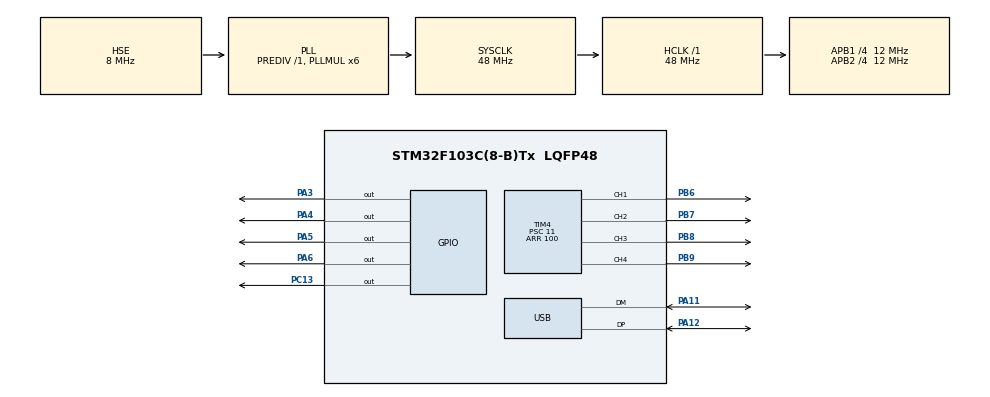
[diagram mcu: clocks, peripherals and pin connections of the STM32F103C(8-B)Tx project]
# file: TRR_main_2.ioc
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Mcu.Family=STM32F1
Mcu.Name=STM32F103C(8-B)Tx
Mcu.Package=LQFP48
NVIC.PriorityGroup=NVIC_PRIORITYGROUP_4
NVIC.USB_LP_CAN1_RX0_IRQn=true\:0\:0\:false\:false\:true\:false\:true\:true
PA11.Mode=Device
PA11.Signal=USB_DM
PA12.Mode=Device
PA12.Signal=USB_DP
PA13.Mode=Serial_Wire
PA13.Signal=SYS_JTMS-SWDIO
PA14.Mode=Serial_Wire
PA14.Signal=SYS_JTCK-SWCLK
PA3.Signal=GPIO_Output
PA4.Signal=GPIO_Output
PA5.Signal=GPIO_Output
PA6.Signal=GPIO_Output
PB6.Signal=S_TIM4_CH1
PB7.Signal=S_TIM4_CH2
PB8.Signal=S_TIM4_CH3
PB9.Signal=S_TIM4_CH4
PC13-TAMPER-RTC.Signal=GPIO_Output
PD0-OSC_IN.Mode=HSE-External-Oscillator
PD0-OSC_IN.Signal=RCC_OSC_IN
PD1-OSC_OUT.Mode=HSE-External-Oscillator
PD1-OSC_OUT.Signal=RCC_OSC_OUT
ProjectManager.HeapSize=0x200
ProjectManager.StackSize=0x400
ProjectManager.TargetToolchain=MDK-ARM V5.32
RCC.AHBFreq_Value=48000000
RCC.APB1CLKDivider=RCC_HCLK_DIV4
RCC.APB1Freq_Value=12000000
RCC.APB1TimFreq_Value=24000000
RCC.APB2CLKDivider=RCC_HCLK_DIV4
RCC.APB2Freq_Value=12000000
RCC.APB2TimFreq_Value=24000000
RCC.HCLKFreq_Value=48000000
RCC.PLLMUL=RCC_PLL_MUL6
RCC.SYSCLKFreq_VALUE=48000000
RCC.SYSCLKSource=RCC_SYSCLKSOURCE_PLLCLK
RCC.USBFreq_Value=48000000
SH.S_TIM4_CH1.0=TIM4_CH1,PWM Generation1 CH1
SH.S_TIM4_CH2.0=TIM4_CH2,PWM Generation2 CH2
SH.S_TIM4_CH3.0=TIM4_CH3,PWM Generation3 CH3
SH.S_TIM4_CH4.0=TIM4_CH4,PWM Generation4 CH4
TIM4.Channel-PWM\ Generation1\ CH1=TIM_CHANNEL_1
TIM4.Channel-PWM\ Generation2\ CH2=TIM_CHANNEL_2
TIM4.Channel-PWM\ Generation3\ CH3=TIM_CHANNEL_3
TIM4.Channel-PWM\ Generation4\ CH4=TIM_CHANNEL_4
TIM4.Period=100
TIM4.Prescaler=11
USB_DEVICE.CLASS_NAME_FS=CDC
USB_DEVICE.VirtualMode=Cdc
USB_DEVICE.VirtualModeFS=Cdc_FS
VP_USB_DEVICE_VS_USB_DEVICE_CDC_FS.Mode=CDC_FS
board=custom

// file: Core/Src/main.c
/* USER CODE BEGIN Header */
/**
  ******************************************************************************
  * @file           : main.c
  * @brief          : Main program body
  ******************************************************************************
  * @attention
  *
  * Copyright (c) 2023 STMicroelectronics.
  * All rights reserved.
  *
  * This software is licensed under terms that can be found in the LICENSE file
  * in the root directory of this software component.
  * If no LICENSE file comes with this software, it is provided AS-IS.
  *
  ******************************************************************************
  */

	/* 	Author: Chi */
	/* 	Right motor:
				R_EN			- PA5
				L_EN			- PA6
				R_PWM			-	PB9
				L_PWM			- PB8
			Right motor:
				R_EN			- PA4
				L_EN			- PA3
				R_PWM			-	PB6
				L_PWM			- PB7
	*/

/* USER CODE END Header */
#include "main.h"
#include "usb_device.h"

/* USER CODE BEGIN Includes */
#include "usbd_cdc_if.h"
/* USER CODE END Includes */

TIM_HandleTypeDef htim4;

/* USER CODE BEGIN PV */
int pwm1= 0;

/* Parameter of USB USB receive */
uint8_t 	buffer[64];
uint8_t		RunSystem 				= 0;						/* ON/OFF all system */
uint8_t		EnablePickup 			= 0;						/* ON/OFF pickup system */

/* USER CODE END PV */

void SystemClock_Config(void);
static void MX_GPIO_Init(void);
static void MX_TIM4_Init(void);

/* USER CODE BEGIN 0 */

/* ======================================================================================= USB printf ======================================================================================= */
struct __FILE
{
  int handle;
  /* Whatever you require here. If the only file you are using is */
  /* standard output using printf() for debugging, no file handling */
  /* is required. */
};
/* FILE is typedef'd in stdio.h. */
FILE __stdout;
int fputc(int ch, FILE *f)
{
    while(!(CDC_Transmit_FS((uint8_t*)&ch, 1) == USBD_OK))
        ;
    return ch;
}
/* ======================================================================================= End USB printf ======================================================================================= */

/* ================================================================================ Motor Control ================================================================================ */
void MotorLeftRot(int32_t pwmSet)
{
	HAL_GPIO_WritePin(GPIOA, GPIO_PIN_3, 1);
	HAL_GPIO_WritePin(GPIOA, GPIO_PIN_4, 1);
	if (pwmSet > 0) {
		__HAL_TIM_SetCompare(&htim4, TIM_CHANNEL_1, pwmSet);
		__HAL_TIM_SetCompare(&htim4, TIM_CHANNEL_2, 0);
	}
	else if (pwmSet < 0) {
		__HAL_TIM_SetCompare(&htim4, TIM_CHANNEL_1,0);
		__HAL_TIM_SetCompare(&htim4, TIM_CHANNEL_2, -pwmSet);
	}
	else{
		HAL_GPIO_WritePin(GPIOA, GPIO_PIN_3, 0);
		HAL_GPIO_WritePin(GPIOA, GPIO_PIN_4, 0);
	}
}
void MotorRightRot(int32_t pwmSet)
{
	HAL_GPIO_WritePin(GPIOA, GPIO_PIN_5, 1);
	HAL_GPIO_WritePin(GPIOA, GPIO_PIN_6, 1);
	if (pwmSet > 0) {
		__HAL_TIM_SetCompare(&htim4, TIM_CHANNEL_3, pwmSet);
		__HAL_TIM_SetCompare(&htim4, TIM_CHANNEL_4, 0);
	}
	else if (pwmSet < 0) {
		__HAL_TIM_SetCompare(&htim4, TIM_CHANNEL_3,0);
		__HAL_TIM_SetCompare(&htim4, TIM_CHANNEL_4, -pwmSet);
	}
	else{
		HAL_GPIO_WritePin(GPIOA, GPIO_PIN_5, 0);
		HAL_GPIO_WritePin(GPIOA, GPIO_PIN_6, 0);
	}
}
/* ============================================================================== End Motor Control ============================================================================== */

/* USER CODE END 0 */

int main(void)
{

  /* MCU Configuration--------------------------------------------------------*/

  /* Reset of all peripherals, Initializes the Flash interface and the Systick. */
  HAL_Init();

  /* Configure the system clock */
  SystemClock_Config();

  /* Initialize all configured peripherals */
  MX_GPIO_Init();
  MX_TIM4_Init();
  MX_USB_DEVICE_Init();
  /* USER CODE BEGIN 2 */
	HAL_TIM_PWM_Start(&htim4, TIM_CHANNEL_1);	// start  timer 1
	HAL_TIM_PWM_Start(&htim4, TIM_CHANNEL_2);	// start 	timer 1
	HAL_TIM_PWM_Start(&htim4, TIM_CHANNEL_3);	// start  timer 1
	HAL_TIM_PWM_Start(&htim4, TIM_CHANNEL_4);	// start 	timer 1
  /* USER CODE END 2 */

  /* Infinite loop */
  while (1)
  {
		if ((RunSystem == 1)&&(EnablePickup==1)) {
			MotorLeftRot(pwm1);
			MotorRightRot(pwm1);
		}
		else {
			MotorLeftRot(0);
			MotorRightRot(0);
		}
  }
}

void SystemClock_Config(void)
{
  RCC_OscInitTypeDef RCC_OscInitStruct = {0};
  RCC_ClkInitTypeDef RCC_ClkInitStruct = {0};
  RCC_PeriphCLKInitTypeDef PeriphClkInit = {0};

  /** Initializes the RCC Oscillators according to the specified parameters
  * in the RCC_OscInitTypeDef structure.
  */
  RCC_OscInitStruct.OscillatorType = RCC_OSCILLATORTYPE_HSE;
  RCC_OscInitStruct.HSEState = RCC_HSE_ON;
  RCC_OscInitStruct.HSEPredivValue = RCC_HSE_PREDIV_DIV1;
  RCC_OscInitStruct.HSIState = RCC_HSI_ON;
  RCC_OscInitStruct.PLL.PLLState = RCC_PLL_ON;
  RCC_OscInitStruct.PLL.PLLSource = RCC_PLLSOURCE_HSE;
  RCC_OscInitStruct.PLL.PLLMUL = RCC_PLL_MUL6;
  if (HAL_RCC_OscConfig(&RCC_OscInitStruct) != HAL_OK)
  {
    Error_Handler();
  }

  /** Initializes the CPU, AHB and APB buses clocks
  */
  RCC_ClkInitStruct.ClockType = RCC_CLOCKTYPE_HCLK|RCC_CLOCKTYPE_SYSCLK
                              |RCC_CLOCKTYPE_PCLK1|RCC_CLOCKTYPE_PCLK2;
  RCC_ClkInitStruct.SYSCLKSource = RCC_SYSCLKSOURCE_PLLCLK;
  RCC_ClkInitStruct.AHBCLKDivider = RCC_SYSCLK_DIV1;
  RCC_ClkInitStruct.APB1CLKDivider = RCC_HCLK_DIV4;
  RCC_ClkInitStruct.APB2CLKDivider = RCC_HCLK_DIV4;

  if (HAL_RCC_ClockConfig(&RCC_ClkInitStruct, FLASH_LATENCY_1) != HAL_OK)
  {
    Error_Handler();
  }
  PeriphClkInit.PeriphClockSelection = RCC_PERIPHCLK_USB;
  PeriphClkInit.UsbClockSelection = RCC_USBCLKSOURCE_PLL;
  if (HAL_RCCEx_PeriphCLKConfig(&PeriphClkInit) != HAL_OK)
  {
    Error_Handler();
  }
}

static void MX_TIM4_Init(void)
{

  TIM_MasterConfigTypeDef sMasterConfig = {0};
  TIM_OC_InitTypeDef sConfigOC = {0};

  htim4.Instance = TIM4;
  htim4.Init.Prescaler = 11;
  htim4.Init.CounterMode = TIM_COUNTERMODE_UP;
  htim4.Init.Period = 100;
  htim4.Init.ClockDivision = TIM_CLOCKDIVISION_DIV1;
  htim4.Init.AutoReloadPreload = TIM_AUTORELOAD_PRELOAD_DISABLE;
  if (HAL_TIM_PWM_Init(&htim4) != HAL_OK)
  {
    Error_Handler();
  }
  sMasterConfig.MasterOutputTrigger = TIM_TRGO_RESET;
  sMasterConfig.MasterSlaveMode = TIM_MASTERSLAVEMODE_DISABLE;
  if (HAL_TIMEx_MasterConfigSynchronization(&htim4, &sMasterConfig) != HAL_OK)
  {
    Error_Handler();
  }
  sConfigOC.OCMode = TIM_OCMODE_PWM1;
  sConfigOC.Pulse = 0;
  sConfigOC.OCPolarity = TIM_OCPOLARITY_HIGH;
  sConfigOC.OCFastMode = TIM_OCFAST_DISABLE;
  if (HAL_TIM_PWM_ConfigChannel(&htim4, &sConfigOC, TIM_CHANNEL_1) != HAL_OK)
  {
    Error_Handler();
  }
  if (HAL_TIM_PWM_ConfigChannel(&htim4, &sConfigOC, TIM_CHANNEL_2) != HAL_OK)
  {
    Error_Handler();
  }
  if (HAL_TIM_PWM_ConfigChannel(&htim4, &sConfigOC, TIM_CHANNEL_3) != HAL_OK)
  {
    Error_Handler();
  }
  if (HAL_TIM_PWM_ConfigChannel(&htim4, &sConfigOC, TIM_CHANNEL_4) != HAL_OK)
  {
    Error_Handler();
  }
  HAL_TIM_MspPostInit(&htim4);

}

static void MX_GPIO_Init(void)
{
  GPIO_InitTypeDef GPIO_InitStruct = {0};

  /* GPIO Ports Clock Enable */
  __HAL_RCC_GPIOC_CLK_ENABLE();
  __HAL_RCC_GPIOD_CLK_ENABLE();
  __HAL_RCC_GPIOA_CLK_ENABLE();
  __HAL_RCC_GPIOB_CLK_ENABLE();

  /*Configure GPIO pin Output Level */
  HAL_GPIO_WritePin(GPIOC, GPIO_PIN_13, GPIO_PIN_RESET);

  /*Configure GPIO pin Output Level */
  HAL_GPIO_WritePin(GPIOA, GPIO_PIN_3|GPIO_PIN_4|GPIO_PIN_5|GPIO_PIN_6, GPIO_PIN_RESET);

  /*Configure GPIO pin : PC13 */
  GPIO_InitStruct.Pin = GPIO_PIN_13;
  GPIO_InitStruct.Mode = GPIO_MODE_OUTPUT_PP;
  GPIO_InitStruct.Pull = GPIO_NOPULL;
  GPIO_InitStruct.Speed = GPIO_SPEED_FREQ_LOW;
  HAL_GPIO_Init(GPIOC, &GPIO_InitStruct);

  /*Configure GPIO pins : PA3 PA4 PA5 PA6 */
  GPIO_InitStruct.Pin = GPIO_PIN_3|GPIO_PIN_4|GPIO_PIN_5|GPIO_PIN_6;
  GPIO_InitStruct.Mode = GPIO_MODE_OUTPUT_PP;
  GPIO_InitStruct.Pull = GPIO_NOPULL;
  GPIO_InitStruct.Speed = GPIO_SPEED_FREQ_LOW;
  HAL_GPIO_Init(GPIOA, &GPIO_InitStruct);

}

void Error_Handler(void)
{
  __disable_irq();
  while (1)
  {
  }
}
